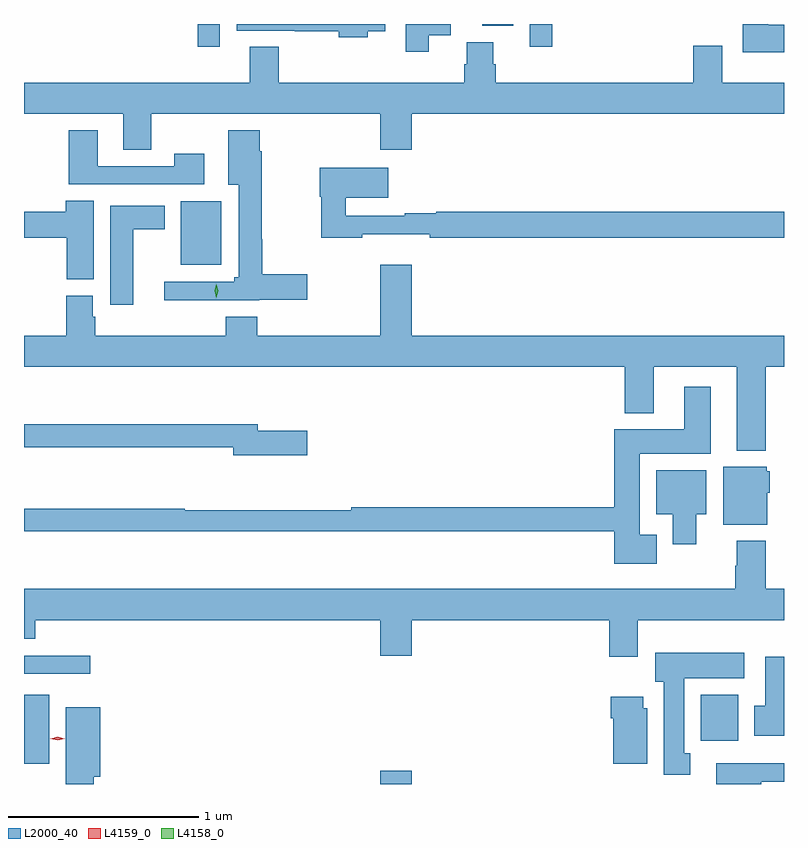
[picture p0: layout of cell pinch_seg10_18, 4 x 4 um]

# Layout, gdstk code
import gdstk
lib = gdstk.Library(unit=1e-6, precision=1e-09)
def R(c, l, rs):  # rectangles x0, y0, x1, y1
    for r in rs: c.add(gdstk.rectangle(r[:2], r[2:], *l))
def P(c, l, *ps):  # polygons
    for p in ps: c.add(gdstk.Polygon(p, *l))
L2000_40 = (2000, 40)
L4158_0 = (4158, 0)
L4159_0 = (4159, 0)

pinch_seg10_18 = lib.new_cell('pinch_seg10_18')
R(pinch_seg10_18, L2000_40, [(956.216,1266.153,956.38,1266.223), (954.34,1266.26,954.472,1266.622), (957.902,1266.38,958.099,1266.622), (954.34,1266.732,954.688,1266.828), (955.166,1268.885,955.378,1269.22), (955.255,1270.032,955.371,1270.153), (957.003,1270.032,957.119,1270.153), (956.753,1270.145,956.914,1270.153)])
P(pinch_seg10_18, L2000_40, [(958.34,1270.15),(958.258,1270.15),(958.258,1270.153),(958.124,1270.153),(958.124,1270.004),(958.34,1270.004)],
  [(956.149,1270.116),(956.241,1270.116),(956.241,1270.153),(955.461,1270.153),(955.461,1270.118),(955.765,1270.118),(955.765,1270.116),(955.997,1270.116),(955.997,1270.082),(956.149,1270.082)],
  [(956.47,1270.094),(956.587,1270.094),(956.587,1270.153),(956.348,1270.153),(956.348,1270.008),(956.47,1270.008)],
  [(955.011,1269.68),(956.216,1269.68),(956.216,1269.492),(956.38,1269.492),(956.38,1269.68),(958.34,1269.68),(958.34,1269.844),(958.015,1269.844),(958.015,1270.039),(957.863,1270.039),(957.863,1269.844),(956.822,1269.844),(956.822,1269.942),(956.809,1269.942),(956.809,1270.057),(956.669,1270.057),(956.669,1269.942),(956.657,1269.942),(956.657,1269.844),(955.682,1269.844),(955.682,1270.033),(955.529,1270.033),(955.529,1269.844),(954.34,1269.844),(954.34,1269.68),(954.863,1269.68),(954.863,1269.49),(955.011,1269.49)],
  [(955.578,1268.702),(955.831,1268.702),(955.831,1268.837),(955.595,1268.837),(955.595,1269.02),(955.59,1269.02),(955.59,1269.482),(955.582,1269.482),(955.582,1269.595),(955.415,1269.595),(955.415,1269.308),(955.469,1269.308),(955.469,1268.82),(955.446,1268.82),(955.446,1268.796),(955.077,1268.796),(955.077,1268.699),(955.578,1268.699)],
  [(955.288,1269.469),(955.132,1269.469),(955.132,1269.405),(954.727,1269.405),(954.727,1269.595),(954.575,1269.595),(954.575,1269.309),(955.288,1269.309)],
  [(956.12,1269.047),(956.476,1269.047),(956.476,1269.028),(958.34,1269.028),(958.34,1269.164),(956.51,1269.164),(956.51,1269.157),(956.344,1269.157),(956.344,1269.144),(956.033,1269.144),(956.033,1269.239),(956.257,1269.239),(956.257,1269.397),(955.897,1269.397),(955.897,1269.243),(955.905,1269.243),(955.905,1269.028),(956.12,1269.028)],
  [(954.706,1269.224),(954.56,1269.224),(954.56,1269.164),(954.34,1269.164),(954.34,1269.028),(954.565,1269.028),(954.565,1268.809),(954.706,1268.809)],
  [(954.916,1269.074),(955.081,1269.074),(955.081,1269.196),(954.794,1269.196),(954.794,1268.676),(954.916,1268.676)],
  [(958.244,1268.348),(958.34,1268.348),(958.34,1268.512),(956.38,1268.512),(956.38,1268.887),(956.216,1268.887),(956.216,1268.512),(955.568,1268.512),(955.568,1268.611),(955.403,1268.611),(955.403,1268.512),(954.716,1268.512),(954.716,1268.613),(954.703,1268.613),(954.703,1268.724),(954.563,1268.724),(954.563,1268.512),(954.34,1268.512),(954.34,1268.348),(957.503,1268.348),(957.503,1268.105),(957.655,1268.105),(957.655,1268.348),(958.091,1268.348),(958.091,1267.907),(958.244,1267.907)],
  [(957.67,1267.465),(957.58,1267.465),(957.58,1267.892),(957.955,1267.892),(957.955,1268.245),(957.815,1268.245),(957.815,1268.02),(957.446,1268.02),(957.446,1267.61),(956.062,1267.61),(956.062,1267.595),(955.186,1267.595),(955.186,1267.603),(954.34,1267.603),(954.34,1267.482),(957.446,1267.482),(957.446,1267.313),(957.67,1267.313)],
  [(955.831,1268.013),(955.57,1268.013),(955.57,1268.047),(954.34,1268.047),(954.34,1267.926),(955.442,1267.926),(955.442,1267.883),(955.831,1267.883)],
  [(958.252,1267.686),(958.264,1267.686),(958.264,1267.8),(958.248,1267.8),(958.248,1267.822),(958.019,1267.822),(958.019,1267.517),(958.252,1267.517)],
  [(957.877,1267.574),(957.931,1267.574),(957.931,1267.804),(957.668,1267.804),(957.668,1267.574),(957.755,1267.574),(957.755,1267.416),(957.877,1267.416)],
  [(957.571,1267.016),(958.34,1267.016),(958.34,1267.18),(958.244,1267.18),(958.244,1267.432),(958.091,1267.432),(958.091,1267.301),(958.084,1267.301),(958.084,1267.18),(954.34,1267.18),(954.34,1266.917),(954.398,1266.917),(954.398,1267.016),(956.216,1267.016),(956.216,1266.828),(956.38,1266.828),(956.38,1267.016),(957.419,1267.016),(957.419,1266.822),(957.571,1266.822)],
  [(957.847,1266.314),(957.814,1266.314),(957.814,1266.71),(958.132,1266.71),(958.132,1266.844),(957.662,1266.844),(957.662,1266.69),(957.707,1266.69),(957.707,1266.201),(957.847,1266.201)],
  [(958.34,1266.823),(958.241,1266.823),(958.241,1266.564),(958.184,1266.564),(958.184,1266.408),(958.34,1266.408)],
  [(957.619,1266.552),(957.598,1266.552),(957.598,1266.613),(957.428,1266.613),(957.428,1266.5),(957.44,1266.5),(957.44,1266.26),(957.619,1266.26)],
  [(954.707,1266.191),(954.742,1266.191),(954.742,1266.556),(954.56,1266.556),(954.56,1266.153),(954.707,1266.153)],
  [(958.219,1266.165),(958.34,1266.165),(958.34,1266.262),(957.983,1266.262),(957.983,1266.153),(958.219,1266.153)])
P(pinch_seg10_18, L4158_0, [(955.353,1268.712),(955.353,1268.712),(955.343,1268.748),(955.353,1268.784),(955.353,1268.784),(955.353,1268.784),(955.363,1268.748),(955.353,1268.712)])
P(pinch_seg10_18, L4159_0, [(954.517,1266.382),(954.479,1266.392),(954.479,1266.392),(954.479,1266.392),(954.517,1266.402),(954.554,1266.392),(954.555,1266.391),(954.554,1266.391)])

lib.write_gds('pinch_seg10_18.gds')
